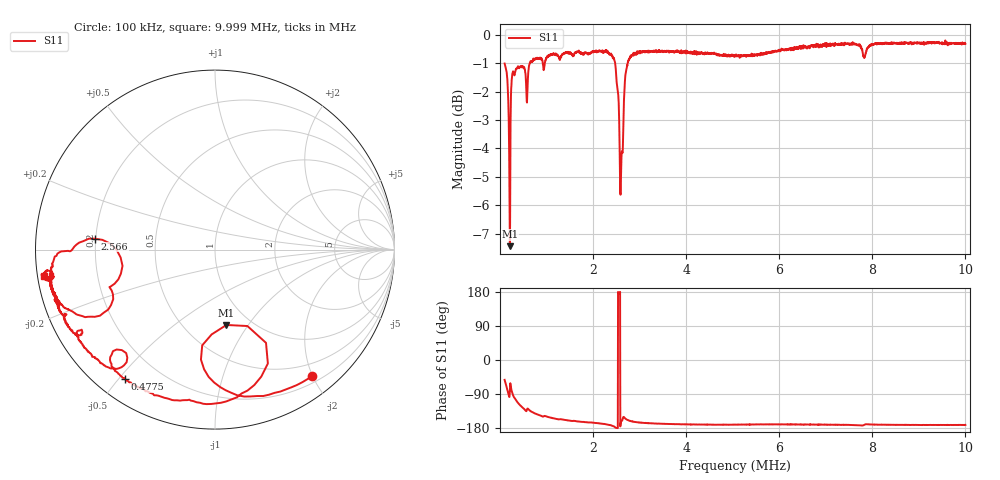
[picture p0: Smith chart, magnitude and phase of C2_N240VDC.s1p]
# HZ S RI R 50
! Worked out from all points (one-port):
!   2020 points, 100 kHz to 9.999 MHz, reference 50 ohm
!   lowest |S11| = -7.4 dB at 212.8 kHz (marker M1), VSWR 2.48, Z = 38.9 - j39.9 ohm
!   |S11| at or under -10 dB: nowhere
!   S11 on the Smith chart (normalised r, x): 100 kHz: 0.29, -2.00; 477.5 kHz: 0.08, -0.52; 2.566 MHz: 0.20, +0.04; 9.999 MHz: 0.02, -0.08
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100000  0.5429 -0.7051
139224  0.3018 -0.8082
163739  0.1242 -0.8118
212769  0.0639 -0.4199
266702  0.0333 -0.8534
301023  -0.1194 -0.8444
384374  -0.3391 -0.812
477531  -0.5001 -0.7228
546173  -0.5813 -0.6293
649136  -0.6195 -0.6444
845256  -0.7485 -0.5131
1340459  -0.849 -0.3632
2115133  -0.9092 -0.2125
2409313  -0.9138 -0.103
2502470  -0.8366 -0.00825
2566209  -0.6702 0.0611
2576015  -0.5835 0.0333
2625045  -0.5854 -0.2132
2698590  -0.7745 -0.3594
2777038  -0.8517 -0.3097
2924128  -0.8901 -0.2566
3816474  -0.9223 -0.1734
5052030  -0.9057 -0.1475
6287586  -0.928 -0.159
7528045  -0.9516 -0.1475
7836934  -0.8995 -0.1516
8763601  -0.9562 -0.1474
9999157  -0.953 -0.1444
